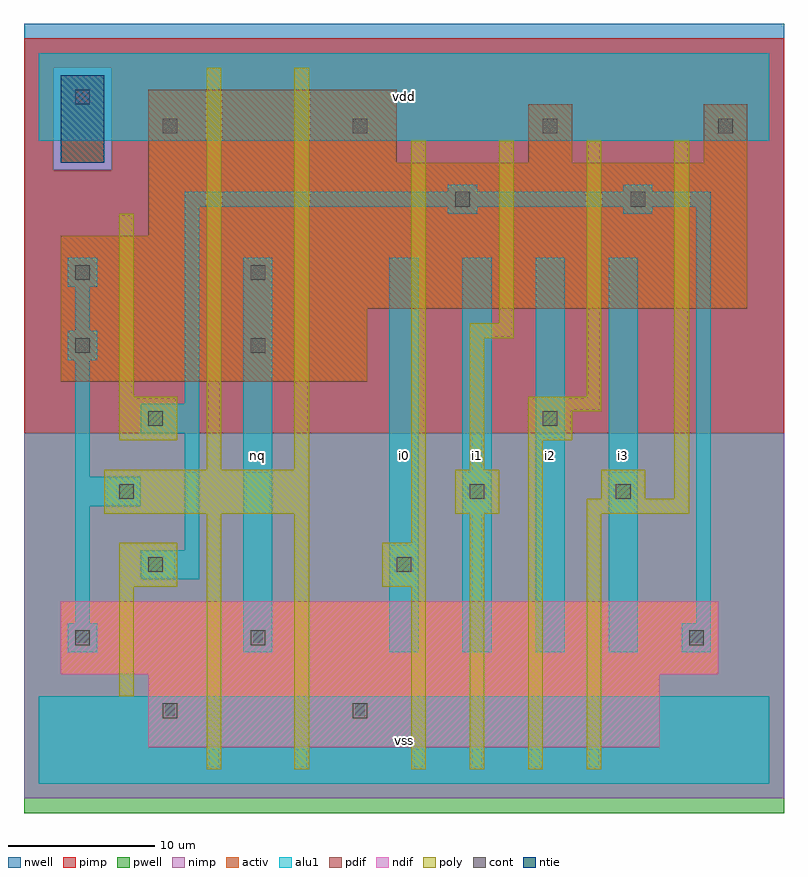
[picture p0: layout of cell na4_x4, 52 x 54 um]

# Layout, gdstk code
import gdstk
lib = gdstk.Library(unit=1e-6, precision=1e-09)
def R(c, l, rs):  # rectangles x0, y0, x1, y1
    for r in rs: c.add(gdstk.rectangle(r[:2], r[2:], *l))
def A(c, l, x, y, w, h, nx, ny, dx, dy):  # array of equal rectangles
    R(c, l, [(x+i*dx, y+j*dy, x+i*dx+w, y+j*dy+h) for i in range(nx) for j in range(ny)])
ndif = (3, 0)
pdif = (4, 0)
ntie = (5, 0)
cont = (25, 0)
pwell = (41, 0)
nwell = (42, 0)
activ = (43, 0)
pimp = (44, 0)
nimp = (45, 0)
poly = (46, 0)
alu1 = (49, 0)

na4_x4 = lib.new_cell('na4_x4')
R(na4_x4, ndif, [(7.5,2.5,42.5,7.5), (1.5,7.5,46.5,12.5)])
R(na4_x4, pdif, [(1.5,27.5,22.5,32.5), (1.5,32.5,48.5,37.5), (7.5,37.5,48.5,42.5), (7.5,42.5,24.5,47.5), (33.5,42.5,36.5,46.5), (45.5,42.5,48.5,46.5)])
R(na4_x4, ntie, [(1.5,42.5,4.5,48.5)])
A(na4_x4, cont, 8.5, 44.5, 1, 1, 3, 1, 13, 0)
R(na4_x4, cont, [(8.5,4.5,9.5,5.5), (21.5,4.5,22.5,5.5), (2.5,9.5,3.5,10.5), (14.5,9.5,15.5,10.5), (44.5,9.5,45.5,10.5), (7.5,14.5,8.5,15.5), (24.5,14.5,25.5,15.5), (5.5,19.5,6.5,20.5), (29.5,19.5,30.5,20.5), (39.5,19.5,40.5,20.5), (7.5,24.5,8.5,25.5), (34.5,24.5,35.5,25.5), (2.5,29.5,3.5,30.5), (14.5,29.5,15.5,30.5), (2.5,34.5,3.5,35.5), (14.5,34.5,15.5,35.5), (28.5,39.5,29.5,40.5), (40.5,39.5,41.5,40.5), (46.5,44.5,47.5,45.5), (2.5,46.5,3.5,47.5)])
R(na4_x4, pwell, [(-1,-2,51,24)])
R(na4_x4, nwell, [(-1,24,51,52)])
R(na4_x4, activ, [(7.5,2.5,42.5,7.5), (1.5,7.5,46.5,12.5), (1.5,27.5,22.5,32.5), (1.5,32.5,48.5,37.5), (7.5,37.5,48.5,42.5), (1.5,42.5,4.5,48.5), (7.5,42.5,24.5,47.5), (33.5,42.5,36.5,46.5), (45.5,42.5,48.5,46.5)])
R(na4_x4, pimp, [(-1,24,51,42), (-1,42,1,49), (5,42,51,49), (-1,49,51,51)])
R(na4_x4, nimp, [(-1,-1,51,24), (1,42,5,49)])
R(na4_x4, poly, [(11.5,1,12.5,18.5), (17.5,1,18.5,18.5), (25.5,1,26.5,13.5), (29.5,1,30.5,18.5), (33.5,1,34.5,23.5), (37.5,1,38.5,18.5), (5.5,6,6.5,13.5), (5.5,13.5,9.5,16.5), (23.5,13.5,26.5,16.5), (25.5,16.5,26.5,44), (4.5,18.5,18.5,21.5), (28.5,18.5,31.5,21.5), (37.5,18.5,44.5,19.5), (38.5,19.5,41.5,21.5), (43.5,19.5,44.5,44), (11.5,21.5,12.5,49), (17.5,21.5,18.5,49), (29.5,21.5,30.5,30.5), (5.5,23.5,9.5,26.5), (33.5,23.5,36.5,25.5), (33.5,25.5,38.5,26.5), (5.5,26.5,6.5,39), (37.5,26.5,38.5,44), (29.5,30.5,32.5,31.5), (31.5,31.5,32.5,44)])
A(na4_x4, alu1, 24, 9, 2, 27, 4, 1, 5, 0)
R(na4_x4, alu1, [(0,0,50,6), (2,9,4,11), (14,9,16,36), (44,9,46,11), (2.5,11,3.5,19), (45,11,46,39.5), (7,14,11,16), (10,16,11,24), (2.5,19,7,21), (2.5,21,3.5,29), (7,24,11,26), (10,26,11,39.5), (2,29,4,31), (2.5,31,3.5,34), (2,34,4,36), (28,39,30,39.5), (40,39,42,39.5), (10,39.5,46,40.5), (28,40.5,30,41), (40,40.5,42,41), (0,44,50,50)])
na4_x4.add(gdstk.Label('nq', (15,22.5), layer=49, texttype=0))
na4_x4.add(gdstk.Label('vss', (25,3), layer=49, texttype=0))
na4_x4.add(gdstk.Label('i0', (25,22.5), layer=49, texttype=0))
na4_x4.add(gdstk.Label('i2', (35,22.5), layer=49, texttype=0))
na4_x4.add(gdstk.Label('i1', (30,22.5), layer=49, texttype=0))
na4_x4.add(gdstk.Label('vdd', (25,47), layer=49, texttype=0))
na4_x4.add(gdstk.Label('i3', (40,22.5), layer=49, texttype=0))

lib.write_gds('na4_x4.gds')
